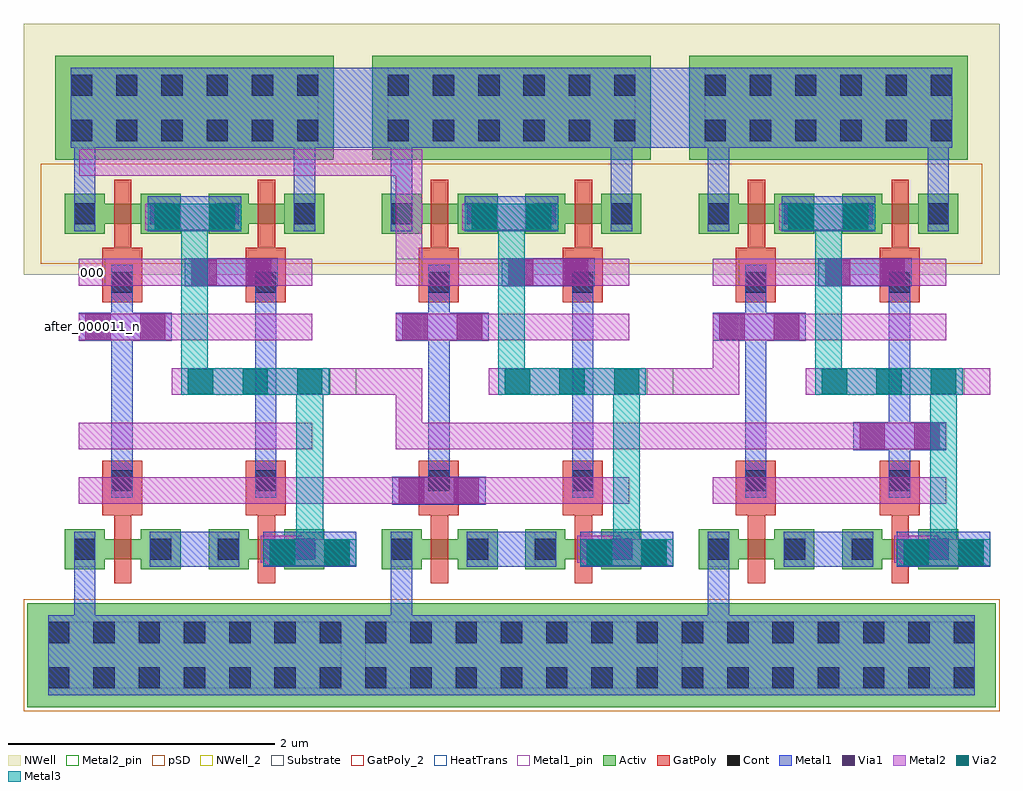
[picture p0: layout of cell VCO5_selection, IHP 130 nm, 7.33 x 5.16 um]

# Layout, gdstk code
from math import pi, radians
import gdstk
lib = gdstk.Library(unit=1e-6, precision=1e-09)
def R(c, l, rs):  # rectangles x0, y0, x1, y1
    for r in rs: c.add(gdstk.rectangle(r[:2], r[2:], *l))
def A(c, l, x, y, w, h, nx, ny, dx, dy):  # array of equal rectangles
    R(c, l, [(x+i*dx, y+j*dy, x+i*dx+w, y+j*dy+h) for i in range(nx) for j in range(ny)])
Activ = (1, 0)
GatPoly = (5, 0)
GatPoly_2 = (5, 2)
Cont = (6, 0)
Metal1 = (8, 0)
Metal1_pin = (8, 2)
Metal2 = (10, 0)
Metal2_pin = (10, 2)
pSD = (14, 0)
Via1 = (19, 0)
Via2 = (29, 0)
Metal3 = (30, 0)
NWell = (31, 0)
NWell_2 = (31, 2)
Substrate = (40, 0)
HeatTrans = (51, 0)

via_4 = lib.new_cell('Via$4')
R(via_4, Metal2, [(-0.1,-0.35,0.1,0.35)])
R(via_4, Via2, [(-0.095,-0.3,0.095,-0.11), (-0.095,0.11,0.095,0.3)])
R(via_4, Metal3, [(-0.1,-0.35,0.1,0.35)])

via_2 = lib.new_cell('Via$2')
R(via_2, Metal1, [(-0.105,-0.35,0.105,0.35)])
R(via_2, Metal2, [(-0.1,-0.35,0.1,0.35)])
R(via_2, Via1, [(-0.095,-0.3,0.095,-0.11), (-0.095,0.11,0.095,0.3)])

ntap1 = lib.new_cell('ntap1')
R(ntap1, Activ, [(0,0,2.09,0.78)])
A(ntap1, Cont, 0.115, 0.14, 0.16, 0.16, 6, 2, 0.34, 0.34)
R(ntap1, Metal1, [(0.115,0.09,1.975,0.69)])
R(ntap1, Metal1_pin, [(0.115,0.09,1.975,0.69), (0.115,0.14,1.975,0.64)])
R(ntap1, NWell, [(-0.24,-0.24,2.33,1.02), (0,0,2.09,0.78)])
R(ntap1, NWell_2, [(0,0,2.09,0.78)])
ntap1.add(gdstk.Label('well', (1.045,0.01), layer=63, texttype=0))
ntap1.add(gdstk.Label('well', (1.045,0.01), layer=31, texttype=0))

ptap1 = lib.new_cell('ptap1')
R(ptap1, Activ, [(0,0,2.51,0.78)])
A(ptap1, Cont, 0.155, 0.14, 0.16, 0.16, 7, 2, 0.34, 0.34)
R(ptap1, Metal1, [(0.155,0.09,2.355,0.69), (0.155,0.14,2.355,0.64)])
R(ptap1, Metal1_pin, [(0.155,0.14,2.355,0.64)])
R(ptap1, pSD, [(-0.03,-0.03,2.54,0.81)])
R(ptap1, Substrate, [(0,0,2.51,0.78)])
ptap1.add(gdstk.Label('sub!', (1.255,0.01), layer=63, texttype=0))
ptap1.add(gdstk.Label('sub!', (1.255,0.01), layer=40, texttype=0))

nmos = lib.new_cell('nmos')
R(nmos, Activ, [(0,0,0.3,0.3), (0.57,0,0.87,0.3), (0,0.075,0.87,0.225)])
R(nmos, GatPoly, [(0.37,-0.105,0.5,0.405)])
R(nmos, GatPoly_2, [(0.37,-0.105,0.5,0.405)])
R(nmos, Cont, [(0.07,0.07,0.23,0.23), (0.64,0.07,0.8,0.23)])
R(nmos, Metal1, [(0.07,0.02,0.23,0.28), (0.64,0.02,0.8,0.28)])
R(nmos, Metal1_pin, [(0.07,0.02,0.23,0.28), (0.64,0.02,0.8,0.28)])
R(nmos, HeatTrans, [(0.37,-0.105,0.5,0.405)])
nmos.add(gdstk.Label('nmos', (0.435,0.15), layer=63, texttype=0))
nmos.add(gdstk.Label('nmos', (0.435,0.15), layer=51, texttype=0))

pmos = lib.new_cell('pmos')
R(pmos, Activ, [(0,0,0.3,0.3), (0.57,0,0.87,0.3), (0,0.075,0.87,0.225)])
R(pmos, GatPoly, [(0.37,-0.105,0.5,0.405), (0.37,-0.105,0.5,0.405)])
R(pmos, Cont, [(0.07,0.07,0.23,0.23), (0.64,0.07,0.8,0.23)])
R(pmos, Metal1, [(0.07,0.02,0.23,0.28), (0.07,0.02,0.23,0.28), (0.64,0.02,0.8,0.28), (0.64,0.02,0.8,0.28)])
R(pmos, pSD, [(-0.18,-0.225,1.05,0.525)])
R(pmos, NWell, [(-0.31,-0.31,1.18,0.61)])
R(pmos, Substrate, [(0.57,0,0.87,0.3)])
R(pmos, HeatTrans, [(0.37,-0.105,0.5,0.405)])
pmos.add(gdstk.Label('pmos', (0.435,0.15), layer=63, texttype=0))
pmos.add(gdstk.Label('pmos', (0.435,0.15), layer=51, texttype=0))

via = lib.new_cell('Via')
R(via, GatPoly, [(-0.15,-0.15,0.15,0.15)])
R(via, Cont, [(-0.08,-0.08,0.08,0.08)])
R(via, Metal1, [(-0.13,-0.08,0.13,0.08)])

via_7 = lib.new_cell('Via$7')
R(via_7, Metal2, [(-0.555,-0.1,0.555,0.1)])
A(via_7, Via2, -0.505, -0.095, 0.19, 0.19, 3, 1, 0.41, 0)
R(via_7, Metal3, [(-0.555,-0.1,0.555,0.1)])

via_6 = lib.new_cell('Via$6')
R(via_6, Metal1, [(-0.35,-0.105,0.35,0.105)])
R(via_6, Metal2, [(-0.35,-0.1,0.35,0.1)])
R(via_6, Via1, [(-0.3,-0.095,-0.11,0.095), (0.11,-0.095,0.3,0.095)])

nand_2in = lib.new_cell('NAND_2in')
R(nand_2in, GatPoly, [(9.375,7.165,9.675,7.275), (10.455,7.165,10.755,7.275), (9.375,9.065,9.675,9.175), (10.455,9.065,10.755,9.175)])
R(nand_2in, Metal1, [(9.735,6.78,10.405,7.04), (10.585,6.78,11.285,7.04), (9.72,9.3,10.42,9.56)])
R(nand_2in, Metal1_pin, [(9.16,6.015,9.36,6.215), (9.325,10.12,9.525,10.32)])
R(nand_2in, Metal2_pin, [(11.085,8.07,11.285,8.27), (9.2,8.48,9.4,8.68), (9.2,8.89,9.4,9.09)])
nand_2in.add(gdstk.FlexPath([(9.245,9.56),(9.245,10.525)], 0.16, ends="flush", simple_path=True, layer=8, datatype=0))  # Metal1
nand_2in.add(gdstk.FlexPath([(10.895,9.56),(10.895,10.525)], 0.16, ends="flush", simple_path=True, layer=8, datatype=0))  # Metal1
nand_2in.add(gdstk.FlexPath([(9.245,6.78),(9.245,6.415)], 0.16, ends="flush", simple_path=True, layer=8, datatype=0))  # Metal1
nand_2in.add(gdstk.FlexPath([(9.525,7.555),(9.525,8.785)], 0.16, ends="flush", simple_path=True, layer=8, datatype=0))  # Metal1
nand_2in.add(gdstk.FlexPath([(10.605,7.555),(10.605,8.785)], 0.16, ends="flush", simple_path=True, layer=8, datatype=0))  # Metal1
nand_2in.add(gdstk.FlexPath([(9.9,8.17),(11.285,8.17)], 0.2, ends="flush", simple_path=True, layer=10, datatype=0))  # Metal2
nand_2in.add(gdstk.FlexPath([(10.895,6.91),(10.565,6.91)], 0.2, ends="flush", simple_path=True, layer=10, datatype=0))  # Metal2
nand_2in.add(gdstk.FlexPath([(9.865,9.405),(9.7,9.405)], 0.2, ends="flush", simple_path=True, layer=10, datatype=0))  # Metal2
nand_2in.add(gdstk.FlexPath([(10.43,8.58),(10.43,8.58)], 0.2, ends="flush", simple_path=True, layer=10, datatype=0))  # Metal2
nand_2in.add(gdstk.FlexPath([(9.2,8.99),(10.955,8.99)], 0.2, ends="flush", simple_path=True, layer=10, datatype=0))  # Metal2
nand_2in.add(gdstk.FlexPath([(9.2,8.58),(10.955,8.58)], 0.2, ends="flush", simple_path=True, layer=10, datatype=0))  # Metal2
nand_2in.add(gdstk.FlexPath([(9.2,7.76),(10.955,7.76)], 0.2, ends="flush", simple_path=True, layer=10, datatype=0))  # Metal2
nand_2in.add(gdstk.FlexPath([(9.2,7.35),(10.955,7.35)], 0.2, ends="flush", simple_path=True, layer=10, datatype=0))  # Metal2
nand_2in.add(gdstk.FlexPath([(10.07,9.305),(10.07,8.07)], 0.2, ends="flush", simple_path=True, layer=30, datatype=0))  # Metal3
nand_2in.add(gdstk.FlexPath([(10.935,6.885),(10.935,8.07)], 0.2, ends="flush", simple_path=True, layer=30, datatype=0))  # Metal3
nand_2in.add(gdstk.Reference(via_4, (10.935,6.885), rotation=3*pi/2))
nand_2in.add(gdstk.Reference(via_2, (10.935,6.885), rotation=3*pi/2))
nand_2in.add(gdstk.Reference(ntap1, (9.025,9.835)))
nand_2in.add(gdstk.Reference(ptap1, (8.815,5.725)))
nand_2in.add(gdstk.Reference(nmos, (10.175,6.76)))
nand_2in.add(gdstk.Reference(pmos, (10.175,9.28)))
nand_2in.add(gdstk.Reference(nmos, (9.095,6.76)))
nand_2in.add(gdstk.Reference(pmos, (9.095,9.28)))
nand_2in.add(gdstk.Reference(via, (9.525,8.915), rotation=pi/2))
nand_2in.add(gdstk.Reference(via, (10.605,8.915), rotation=pi/2))
nand_2in.add(gdstk.Reference(via, (10.605,7.425), rotation=3*pi/2))
nand_2in.add(gdstk.Reference(via, (9.525,7.425), rotation=3*pi/2))
nand_2in.add(gdstk.Reference(via_2, (9.55,8.58), rotation=3*pi/2))
nand_2in.add(gdstk.Reference(via_7, (10.525,8.17)))
nand_2in.add(gdstk.Reference(via_2, (10.07,9.405), rotation=3*pi/2))
nand_2in.add(gdstk.Reference(via_4, (10.07,9.405), rotation=3*pi/2))
nand_2in.add(gdstk.Reference(via_6, (10.345,8.99)))
nand_2in.add(gdstk.Label('y', (11.185,8.17), layer=10, texttype=25))
nand_2in.add(gdstk.Label('b', (9.315,8.575), layer=10, texttype=25))
nand_2in.add(gdstk.Label('a', (9.3,8.99), layer=10, texttype=25))
nand_2in.add(gdstk.Label('VP', (9.295,10.22), layer=8, texttype=25))
nand_2in.add(gdstk.Label('GND', (9.26,6.115), layer=8, texttype=25))

via_9 = lib.new_cell('Via$9')
R(via_9, Metal1, [(-0.35,-0.105,0.35,0.105)])
R(via_9, Metal2, [(-0.35,-0.1,0.35,0.1)])
R(via_9, Via1, [(-0.3,-0.095,-0.11,0.095), (0.11,-0.095,0.3,0.095)])

via_10 = lib.new_cell('Via$10')
R(via_10, Metal1, [(-0.35,-0.105,0.35,0.105)])
R(via_10, Metal2, [(-0.35,-0.1,0.35,0.1)])
R(via_10, Via1, [(-0.3,-0.095,-0.11,0.095), (0.11,-0.095,0.3,0.095)])

vco5_selection = lib.new_cell('VCO5_selection')
R(vco5_selection, Metal1, [(20.74,17.585,27.7,18.185), (20.91,21.695,27.53,22.295)])
R(vco5_selection, Metal2_pin, [(20.97,20.25,21.17,20.45), (20.97,20.66,21.17,20.86)])
R(vco5_selection, pSD, [(20.75,20.825,25.685,21.575)])
vco5_selection.add(gdstk.FlexPath([(23.45,20.76),(23.45,21.585),(21.75,21.585)], 0.2, ends="flush", simple_path=True, layer=10, datatype=0))  # Metal2
vco5_selection.add(gdstk.FlexPath([(21.75,21.585),(20.975,21.585)], 0.2, ends="flush", simple_path=True, layer=10, datatype=0))  # Metal2
vco5_selection.add(gdstk.FlexPath([(22.56,19.12),(23.43,19.12)], 0.2, ends="flush", simple_path=True, layer=10, datatype=0))  # Metal2
vco5_selection.add(gdstk.FlexPath([(22.955,19.94),(23.45,19.94),(23.45,19.43)], 0.2, ends="flush", simple_path=True, layer=10, datatype=0))  # Metal2
vco5_selection.add(gdstk.FlexPath([(25.335,19.94),(25.83,19.94),(25.83,20.45)], 0.2, ends="flush", simple_path=True, layer=10, datatype=0))  # Metal2
vco5_selection.add(gdstk.FlexPath([(24.915,19.53),(27.135,19.53)], 0.2, ends="flush", simple_path=True, layer=10, datatype=0))  # Metal2
vco5_selection.add(gdstk.FlexPath([(23.675,19.12),(23.675,19.12)], 0.2, ends="flush", simple_path=True, layer=10, datatype=0))  # Metal2
vco5_selection.add(gdstk.Reference(nand_2in, (11.77,11.77)))
vco5_selection.add(gdstk.Reference(nand_2in, (14.15,11.77)))
vco5_selection.add(gdstk.Reference(nand_2in, (16.53,11.77)))
vco5_selection.add(gdstk.Reference(via_9, (27.135,19.53)))
vco5_selection.add(gdstk.Reference(via_10, (23.675,19.12)))
vco5_selection.add(gdstk.Label('000', (21.07,20.76), layer=10, texttype=25))
vco5_selection.add(gdstk.Label('after_000011_n', (21.07,20.35), layer=10, texttype=25))

lib.write_gds('VCO5_selection.gds')
